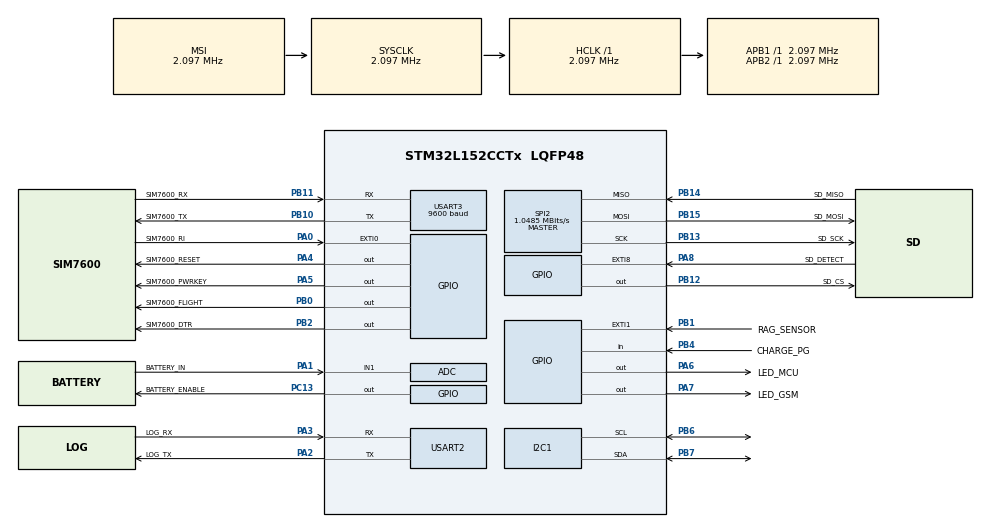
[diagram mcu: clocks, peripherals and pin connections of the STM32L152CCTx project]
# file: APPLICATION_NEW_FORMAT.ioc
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ADC.Channel-0\#ChannelRegularConversion=ADC_CHANNEL_1
ADC.ContinuousConvMode=ENABLE
ADC.NbrOfConversionFlag=1
ADC.Rank-0\#ChannelRegularConversion=1
ADC.SamplingTime-0\#ChannelRegularConversion=ADC_SAMPLETIME_4CYCLES
Dma.Request0=USART2_RX
Dma.USART2_RX.0.Direction=DMA_PERIPH_TO_MEMORY
Dma.USART2_RX.0.Instance=DMA1_Channel6
Dma.USART2_RX.0.MemDataAlignment=DMA_MDATAALIGN_BYTE
Dma.USART2_RX.0.MemInc=DMA_MINC_ENABLE
Dma.USART2_RX.0.Mode=DMA_NORMAL
Dma.USART2_RX.0.PeriphDataAlignment=DMA_PDATAALIGN_BYTE
Dma.USART2_RX.0.PeriphInc=DMA_PINC_DISABLE
Dma.USART2_RX.0.Priority=DMA_PRIORITY_LOW
FATFS._FS_TINY=1
FATFS._MAX_SS=1024
FATFS._USE_LFN=1
Mcu.Family=STM32L1
Mcu.Name=STM32L152CCTx
Mcu.Package=LQFP48
NVIC.DMA1_Channel6_IRQn=true\:0\:0\:false\:false\:true\:false\:true
NVIC.EXTI0_IRQn=true\:0\:0\:false\:false\:true\:true\:true
NVIC.EXTI1_IRQn=true\:0\:0\:false\:false\:true\:true\:true
NVIC.EXTI9_5_IRQn=true\:0\:0\:false\:false\:true\:true\:true
NVIC.PriorityGroup=NVIC_PRIORITYGROUP_4
NVIC.RTC_Alarm_IRQn=true\:0\:0\:false\:false\:true\:true\:true
NVIC.USART2_IRQn=true\:0\:0\:false\:false\:true\:true\:true
PA0-WKUP1.GPIO_Label=SIM7600_RI
PA0-WKUP1.GPIO_ModeDefaultEXTI=GPIO_MODE_IT_FALLING
PA0-WKUP1.GPIO_PuPd=GPIO_NOPULL
PA0-WKUP1.Signal=GPXTI0
PA1.GPIO_Label=BATTERY_IN
PA1.Mode=IN1
PA1.Signal=ADC_IN1
PA13.Mode=Serial_Wire
PA13.Signal=SYS_JTMS-SWDIO
PA14.Mode=Serial_Wire
PA14.Signal=SYS_JTCK-SWCLK
PA2.GPIO_Label=LOG_TX
PA2.Mode=Asynchronous
PA2.Signal=USART2_TX
PA3.GPIO_Label=LOG_RX
PA3.Mode=Asynchronous
PA3.Signal=USART2_RX
PA4.GPIO_Label=SIM7600_RESET
PA4.Signal=GPIO_Output
PA5.GPIO_Label=SIM7600_PWRKEY
PA5.Signal=GPIO_Output
PA6.GPIO_Label=LED_MCU
PA6.Signal=GPIO_Output
PA7.GPIO_Label=LED_GSM
PA7.Signal=GPIO_Output
PA8.GPIO_Label=SD_DETECT
PA8.GPIO_ModeDefaultEXTI=GPIO_MODE_IT_FALLING
PA8.Signal=GPXTI8
PB0.GPIO_Label=SIM7600_FLIGHT
PB0.Signal=GPIO_Output
PB1.GPIO_Label=RAG_SENSOR
PB1.GPIO_ModeDefaultEXTI=GPIO_MODE_IT_FALLING
PB1.Signal=GPXTI1
PB10.GPIO_Label=SIM7600_TX
PB10.Mode=Asynchronous
PB10.Signal=USART3_TX
PB11.GPIO_Label=SIM7600_RX
PB11.Mode=Asynchronous
PB11.Signal=USART3_RX
PB12.GPIO_Label=SD_CS
PB12.Signal=GPIO_Output
PB13.GPIO_Label=SD_SCK
PB13.Mode=Full_Duplex_Master
PB13.Signal=SPI2_SCK
PB14.GPIO_Label=SD_MISO
PB14.Mode=Full_Duplex_Master
PB14.Signal=SPI2_MISO
PB15.GPIO_Label=SD_MOSI
PB15.Mode=Full_Duplex_Master
PB15.Signal=SPI2_MOSI
PB2.GPIO_Label=SIM7600_DTR
PB2.Signal=GPIO_Output
PB4.GPIO_Label=CHARGE_PG
PB4.Signal=GPIO_Input
PB6.Mode=I2C
PB6.Signal=I2C1_SCL
PB7.Mode=I2C
PB7.Signal=I2C1_SDA
PC13-WKUP2.GPIO_Label=BATTERY_ENABLE
PC13-WKUP2.GPIO_Speed=GPIO_SPEED_FREQ_VERY_HIGH
PC13-WKUP2.Signal=GPIO_Output
PC14-OSC32_IN.Mode=LSE-External-Oscillator
PC14-OSC32_IN.Signal=RCC_OSC32_IN
PC15-OSC32_OUT.Mode=LSE-External-Oscillator
PC15-OSC32_OUT.Signal=RCC_OSC32_OUT
ProjectManager.HeapSize=0x200
ProjectManager.StackSize=0x400
ProjectManager.TargetToolchain=STM32CubeIDE
RCC.AHBFreq_Value=2097000
RCC.APB1Freq_Value=2097000
RCC.APB2Freq_Value=2097000
RCC.EnableCSSLSE=true
RCC.HSE_VALUE=24000000
RCC.HSI_VALUE=16000000
RCC.MSI_VALUE=2097000
RCC.PWR_Regulator_Voltage_Scale=PWR_REGULATOR_VOLTAGE_SCALE3
RCC.RTCClockSelection=RCC_RTCCLKSOURCE_LSE
RCC.RTCClockSelectionVirtual=RCC_RTCCLKSOURCE_LSE
RCC.SYSCLKFreq_VALUE=2097000
RCC.VCOOutputFreq_Value=48000000
RCC.VDD_VALUE=2
RTC.Alarm-Alarm\ A=RTC_ALARM_A
RTC.AlarmMaskDateWeekDay-Alarm\ A=RTC_ALARMMASK_DATEWEEKDAY
RTC.AlarmMaskHours-Alarm\ A=RTC_ALARMMASK_HOURS
SPI2.CalculateBaudRate=1.0485 MBits/s
SPI2.Direction=SPI_DIRECTION_2LINES
SPI2.Mode=SPI_MODE_MASTER
SPI2.VirtualType=VM_MASTER
USART2.VirtualMode=VM_ASYNC
USART3.BaudRate=9600
USART3.VirtualMode=VM_ASYNC
VP_CRC_VS_CRC.Mode=CRC_Activate
VP_FATFS_VS_Generic.Mode=User_defined
VP_RTC_VS_RTC_Activate.Mode=RTC_Enabled
VP_RTC_VS_RTC_Alarm_A_Intern.Mode=Alarm A
VP_RTC_VS_RTC_Calendar.Mode=RTC_Calendar
board=custom

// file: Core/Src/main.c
/* USER CODE BEGIN Header */
/**
 ******************************************************************************
 * @file           : main.c
 * @brief          : Chương trình xây dựng lại theo format chung của các bộ datalogger
 ******************************************************************************
 * @attention
 *
 * Copyright (c) 2022 STMicroelectronics.
 * All rights reserved.
 *
 * This software is licensed under terms that can be found in the LICENSE file
 * in the root directory of this software component.
 * If no LICENSE file comes with this software, it is provided AS-IS.
 *
 ******************************************************************************
 */
/* USER CODE END Header */
#include "main.h"
#include "fatfs.h"

/* USER CODE BEGIN Includes */
#include <stdio.h>
#include <string.h>

#include <lowlib.h>
#include <midlib.h>

/* USER CODE END Includes */

ADC_HandleTypeDef hadc;

CRC_HandleTypeDef hcrc;

I2C_HandleTypeDef hi2c1;

RTC_HandleTypeDef hrtc;

SPI_HandleTypeDef hspi2;

UART_HandleTypeDef huart2;
UART_HandleTypeDef huart3;
DMA_HandleTypeDef hdma_usart2_rx;

/* USER CODE BEGIN PV */
SIM_HandleTypeDef *simPtr;
SENSOR_HandleTypeDef *sensorPtr;
POWER_HandleTypeDef *powerPtr;
SDCARD_HandleTypeDef *sdcardPtr;
CLOCK_HandleTypeDef *clockPtr;
CFG_HandleTypeDef *cfgPtr;
Telegram_HandleTypeDef *telePtr;

/* USER CODE END PV */

void SystemClock_Config(void);
static void MX_GPIO_Init(void);
static void MX_DMA_Init(void);
static void MX_I2C1_Init(void);
static void MX_RTC_Init(void);
static void MX_SPI2_Init(void);
static void MX_USART2_UART_Init(void);
static void MX_USART3_UART_Init(void);
static void MX_ADC_Init(void);
static void MX_CRC_Init(void);
/* USER CODE BEGIN PFP */
void POWER_Init(void);
void SIM_Init(void);
void SENSOR_Init(void);
void CLOCK_Init(void);
void CONFIG_Init(void);
void SDCARD_Init(void);
void TELE_Init(void);

/* USER CODE END PFP */

int main(void)
{
	/* USER CODE BEGIN 1 */
	SCB->SHCSR |= (SCB_SHCSR_USGFAULTENA_Msk |
	SCB_SHCSR_MEMFAULTENA_Msk |
	SCB_SHCSR_BUSFAULTENA_Msk);
	/* USER CODE END 1 */

	/* MCU Configuration--------------------------------------------------------*/

	/* Reset of all peripherals, Initializes the Flash interface and the Systick. */
	HAL_Init();

	/* Configure the system clock */
	SystemClock_Config();

	/* Initialize all configured peripherals */
	MX_GPIO_Init();
	MX_DMA_Init();
	MX_I2C1_Init();
	MX_RTC_Init();
	MX_SPI2_Init();
	MX_USART2_UART_Init();
	MX_USART3_UART_Init();
	MX_FATFS_Init();
	MX_ADC_Init();
	MX_CRC_Init();
	/* USER CODE BEGIN 2 */
#if TEST

#else
	printf("This is the version 1.0.0 used to test the hardware of RFD board\n"
			"Writter: Hoang Van Binh\n"
			"Date: 27/04/2023\n");
	printf("Power on\n");
	TURN_ON_LED_MCU();
	/* Init power */
	POWER_Init();
	/* Init sim, must be called before CLOCK_Init and SDCARD_Init
	 * because, CLOCK and SDCARD need the time get from internet
	 * using SIM
	 */
	SIM_Init();
	/* Init config, read parameters saved in the eeprom */
	CONFIG_Init();
	/* Init clock, set time and alarm for device */
	CLOCK_Init();
	/* Init sensor, config and choose type of sensor */
	SENSOR_Init();
	/* Init sd card */
	SDCARD_Init();
	/* Init telegram, used for send device status */
	TELE_Init();

	TURN_OFF_LED_MCU();

	printf("Power off\n");
#endif
	/* USER CODE END 2 */

	/* Infinite loop */
	/* USER CODE BEGIN WHILE */

	while (1)
	{
#if TEST

#else
		/* Xử lý các trư�?ng hợp như treo SIM, lỗi giao tiếp */
		SIM_process(simPtr);

		/* Xử lý tin nhắn SMS */
		SMS_process();

		/* Xử lý gửi dữ liệu lên máy chủ */
		HTTP_process();

		printf("\nMCU enters LPM\n");
		TURN_OFF_LED_MCU();
		PWR->CR |= PWR_CR_ULP;
		PWR->CR |= PWR_CR_FWU;
		FLASH->ACR |= FLASH_ACR_SLEEP_PD;
		HAL_SuspendTick();
		HAL_PWR_EnableSleepOnExit();
		HAL_PWR_EnterSTOPMode(PWR_LOWPOWERREGULATOR_ON, PWR_SLEEPENTRY_WFI);
		HAL_ResumeTick();
		while ((PWR->CSR & PWR_CSR_VREFINTRDYF) != PWR_CSR_VREFINTRDYF);
		TURN_ON_LED_MCU();
		printf("MCU wakes up from LPM\n");

		/* Gọi lại hàm cấu hình clock, vì ADC sử dụng HSI nên sau chế độ STOP HSI bị dừng */
		SystemClock_Config();
#endif
		/* USER CODE END WHILE */

	}
}

void SystemClock_Config(void)
{
	RCC_OscInitTypeDef RCC_OscInitStruct = { 0 };
	RCC_ClkInitTypeDef RCC_ClkInitStruct = { 0 };
	RCC_PeriphCLKInitTypeDef PeriphClkInit = { 0 };

	/** Configure the main internal regulator output voltage
	 */
	__HAL_PWR_VOLTAGESCALING_CONFIG(PWR_REGULATOR_VOLTAGE_SCALE3);
	/** Initializes the RCC Oscillators according to the specified parameters
	 * in the RCC_OscInitTypeDef structure.
	 */
	RCC_OscInitStruct.OscillatorType = RCC_OSCILLATORTYPE_HSI | RCC_OSCILLATORTYPE_LSE | RCC_OSCILLATORTYPE_MSI;
	RCC_OscInitStruct.LSEState = RCC_LSE_ON;
	RCC_OscInitStruct.HSIState = RCC_HSI_ON;
	RCC_OscInitStruct.HSICalibrationValue = RCC_HSICALIBRATION_DEFAULT;
	RCC_OscInitStruct.MSIState = RCC_MSI_ON;
	RCC_OscInitStruct.MSICalibrationValue = 0;
	RCC_OscInitStruct.MSIClockRange = RCC_MSIRANGE_5;
	RCC_OscInitStruct.PLL.PLLState = RCC_PLL_NONE;
	if (HAL_RCC_OscConfig(&RCC_OscInitStruct) != HAL_OK)
	{
		Error_Handler();
	}
	/** Initializes the CPU, AHB and APB buses clocks
	 */
	RCC_ClkInitStruct.ClockType = RCC_CLOCKTYPE_HCLK | RCC_CLOCKTYPE_SYSCLK | RCC_CLOCKTYPE_PCLK1 | RCC_CLOCKTYPE_PCLK2;
	RCC_ClkInitStruct.SYSCLKSource = RCC_SYSCLKSOURCE_MSI;
	RCC_ClkInitStruct.AHBCLKDivider = RCC_SYSCLK_DIV1;
	RCC_ClkInitStruct.APB1CLKDivider = RCC_HCLK_DIV1;
	RCC_ClkInitStruct.APB2CLKDivider = RCC_HCLK_DIV1;

	if (HAL_RCC_ClockConfig(&RCC_ClkInitStruct, FLASH_LATENCY_0) != HAL_OK)
	{
		Error_Handler();
	}
	PeriphClkInit.PeriphClockSelection = RCC_PERIPHCLK_RTC;
	PeriphClkInit.RTCClockSelection = RCC_RTCCLKSOURCE_LSE;
	if (HAL_RCCEx_PeriphCLKConfig(&PeriphClkInit) != HAL_OK)
	{
		Error_Handler();
	}
	/** Enables the Clock Security System
	 */
	HAL_RCCEx_EnableLSECSS();
}

static void MX_ADC_Init(void)
{

	ADC_ChannelConfTypeDef sConfig = { 0 };

	/** Configure the global features of the ADC (Clock, Resolution, Data Alignment and number of conversion)
	 */
	hadc.Instance = ADC1;
	hadc.Init.ClockPrescaler = ADC_CLOCK_ASYNC_DIV4;
	hadc.Init.Resolution = ADC_RESOLUTION_12B;
	hadc.Init.DataAlign = ADC_DATAALIGN_RIGHT;
	hadc.Init.ScanConvMode = ADC_SCAN_DISABLE;
	hadc.Init.EOCSelection = ADC_EOC_SEQ_CONV;
	hadc.Init.LowPowerAutoWait = ADC_AUTOWAIT_DISABLE;
	hadc.Init.LowPowerAutoPowerOff = ADC_AUTOPOWEROFF_DISABLE;
	hadc.Init.ChannelsBank = ADC_CHANNELS_BANK_A;
	hadc.Init.ContinuousConvMode = ENABLE;
	hadc.Init.NbrOfConversion = 1;
	hadc.Init.DiscontinuousConvMode = DISABLE;
	hadc.Init.ExternalTrigConv = ADC_SOFTWARE_START;
	hadc.Init.ExternalTrigConvEdge = ADC_EXTERNALTRIGCONVEDGE_NONE;
	hadc.Init.DMAContinuousRequests = DISABLE;
	if (HAL_ADC_Init(&hadc) != HAL_OK)
	{
		Error_Handler();
	}
	/** Configure for the selected ADC regular channel its corresponding rank in the sequencer and its sample time.
	 */
	sConfig.Channel = ADC_CHANNEL_1;
	sConfig.Rank = ADC_REGULAR_RANK_1;
	sConfig.SamplingTime = ADC_SAMPLETIME_4CYCLES;
	if (HAL_ADC_ConfigChannel(&hadc, &sConfig) != HAL_OK)
	{
		Error_Handler();
	}

}

static void MX_CRC_Init(void)
{

	hcrc.Instance = CRC;
	if (HAL_CRC_Init(&hcrc) != HAL_OK)
	{
		Error_Handler();
	}

}

static void MX_I2C1_Init(void)
{

	hi2c1.Instance = I2C1;
	hi2c1.Init.ClockSpeed = 100000;
	hi2c1.Init.DutyCycle = I2C_DUTYCYCLE_2;
	hi2c1.Init.OwnAddress1 = 0;
	hi2c1.Init.AddressingMode = I2C_ADDRESSINGMODE_7BIT;
	hi2c1.Init.DualAddressMode = I2C_DUALADDRESS_DISABLE;
	hi2c1.Init.OwnAddress2 = 0;
	hi2c1.Init.GeneralCallMode = I2C_GENERALCALL_DISABLE;
	hi2c1.Init.NoStretchMode = I2C_NOSTRETCH_DISABLE;
	if (HAL_I2C_Init(&hi2c1) != HAL_OK)
	{
		Error_Handler();
	}

}

static void MX_RTC_Init(void)
{

	/* USER CODE BEGIN RTC_Init 0 */
#if 0
  /* USER CODE END RTC_Init 0 */

  RTC_TimeTypeDef sTime = {0};
  RTC_DateTypeDef sDate = {0};
  RTC_AlarmTypeDef sAlarm = {0};

  /** Initialize RTC Only
  */
  hrtc.Instance = RTC;
  hrtc.Init.HourFormat = RTC_HOURFORMAT_24;
  hrtc.Init.AsynchPrediv = 127;
  hrtc.Init.SynchPrediv = 255;
  hrtc.Init.OutPut = RTC_OUTPUT_DISABLE;
  hrtc.Init.OutPutPolarity = RTC_OUTPUT_POLARITY_HIGH;
  hrtc.Init.OutPutType = RTC_OUTPUT_TYPE_OPENDRAIN;
  if (HAL_RTC_Init(&hrtc) != HAL_OK)
  {
    Error_Handler();
  }

  /** Initialize RTC and set the Time and Date
  */
  sTime.Hours = 0x0;
  sTime.Minutes = 0x0;
  sTime.Seconds = 0x0;
  sTime.DayLightSaving = RTC_DAYLIGHTSAVING_NONE;
  sTime.StoreOperation = RTC_STOREOPERATION_RESET;
  if (HAL_RTC_SetTime(&hrtc, &sTime, RTC_FORMAT_BCD) != HAL_OK)
  {
    Error_Handler();
  }
  sDate.WeekDay = RTC_WEEKDAY_MONDAY;
  sDate.Month = RTC_MONTH_JANUARY;
  sDate.Date = 0x1;
  sDate.Year = 0x0;

  if (HAL_RTC_SetDate(&hrtc, &sDate, RTC_FORMAT_BCD) != HAL_OK)
  {
    Error_Handler();
  }
  /** Enable the Alarm A
  */
  sAlarm.AlarmTime.Hours = 0x0;
  sAlarm.AlarmTime.Minutes = 0x0;
  sAlarm.AlarmTime.Seconds = 0x0;
  sAlarm.AlarmTime.SubSeconds = 0x0;
  sAlarm.AlarmTime.DayLightSaving = RTC_DAYLIGHTSAVING_NONE;
  sAlarm.AlarmTime.StoreOperation = RTC_STOREOPERATION_RESET;
  sAlarm.AlarmMask = RTC_ALARMMASK_DATEWEEKDAY|RTC_ALARMMASK_HOURS;
  sAlarm.AlarmSubSecondMask = RTC_ALARMSUBSECONDMASK_ALL;
  sAlarm.AlarmDateWeekDaySel = RTC_ALARMDATEWEEKDAYSEL_DATE;
  sAlarm.AlarmDateWeekDay = 0x1;
  sAlarm.Alarm = RTC_ALARM_A;
  if (HAL_RTC_SetAlarm_IT(&hrtc, &sAlarm, RTC_FORMAT_BCD) != HAL_OK)
  {
    Error_Handler();
  }
  /* USER CODE BEGIN RTC_Init 2 */
#endif
	/* USER CODE END RTC_Init 2 */

}

static void MX_SPI2_Init(void)
{

	/* SPI2 parameter configuration*/
	hspi2.Instance = SPI2;
	hspi2.Init.Mode = SPI_MODE_MASTER;
	hspi2.Init.Direction = SPI_DIRECTION_2LINES;
	hspi2.Init.DataSize = SPI_DATASIZE_8BIT;
	hspi2.Init.CLKPolarity = SPI_POLARITY_LOW;
	hspi2.Init.CLKPhase = SPI_PHASE_1EDGE;
	hspi2.Init.NSS = SPI_NSS_SOFT;
	hspi2.Init.BaudRatePrescaler = SPI_BAUDRATEPRESCALER_2;
	hspi2.Init.FirstBit = SPI_FIRSTBIT_MSB;
	hspi2.Init.TIMode = SPI_TIMODE_DISABLE;
	hspi2.Init.CRCCalculation = SPI_CRCCALCULATION_DISABLE;
	hspi2.Init.CRCPolynomial = 10;
	if (HAL_SPI_Init(&hspi2) != HAL_OK)
	{
		Error_Handler();
	}

}

static void MX_USART2_UART_Init(void)
{

	/* USER CODE BEGIN USART2_Init 0 */
#if 0
  /* USER CODE END USART2_Init 0 */

  huart2.Instance = USART2;
  huart2.Init.BaudRate = 115200;
  huart2.Init.WordLength = UART_WORDLENGTH_8B;
  huart2.Init.StopBits = UART_STOPBITS_1;
  huart2.Init.Parity = UART_PARITY_NONE;
  huart2.Init.Mode = UART_MODE_TX_RX;
  huart2.Init.HwFlowCtl = UART_HWCONTROL_NONE;
  huart2.Init.OverSampling = UART_OVERSAMPLING_16;
  if (HAL_UART_Init(&huart2) != HAL_OK)
  {
    Error_Handler();
  }
  /* USER CODE BEGIN USART2_Init 2 */
#endif
	/* USER CODE END USART2_Init 2 */

}

static void MX_USART3_UART_Init(void)
{

	huart3.Instance = USART3;
	huart3.Init.BaudRate = 9600;
	huart3.Init.WordLength = UART_WORDLENGTH_8B;
	huart3.Init.StopBits = UART_STOPBITS_1;
	huart3.Init.Parity = UART_PARITY_NONE;
	huart3.Init.Mode = UART_MODE_TX_RX;
	huart3.Init.HwFlowCtl = UART_HWCONTROL_NONE;
	huart3.Init.OverSampling = UART_OVERSAMPLING_16;
	if (HAL_UART_Init(&huart3) != HAL_OK)
	{
		Error_Handler();
	}

}

static void MX_DMA_Init(void)
{

	/* DMA controller clock enable */
	__HAL_RCC_DMA1_CLK_ENABLE();

	/* DMA interrupt init */
	/* DMA1_Channel6_IRQn interrupt configuration */
	HAL_NVIC_SetPriority(DMA1_Channel6_IRQn, 0, 0);
	HAL_NVIC_EnableIRQ(DMA1_Channel6_IRQn);

}

static void MX_GPIO_Init(void)
{
	GPIO_InitTypeDef GPIO_InitStruct = { 0 };

	/* GPIO Ports Clock Enable */
	__HAL_RCC_GPIOC_CLK_ENABLE();
	__HAL_RCC_GPIOH_CLK_ENABLE();
	__HAL_RCC_GPIOA_CLK_ENABLE();
	__HAL_RCC_GPIOB_CLK_ENABLE();

	/*Configure GPIO pin Output Level */
	HAL_GPIO_WritePin(BATTERY_ENABLE_GPIO_Port, BATTERY_ENABLE_Pin, GPIO_PIN_RESET);

	/*Configure GPIO pin Output Level */
	HAL_GPIO_WritePin(GPIOA, SIM7600_RESET_Pin | SIM7600_PWRKEY_Pin | LED_MCU_Pin | LED_GSM_Pin, GPIO_PIN_RESET);

	/*Configure GPIO pin Output Level */
	HAL_GPIO_WritePin(GPIOB, SIM7600_FLIGHT_Pin | SIM7600_DTR_Pin | SD_CS_Pin, GPIO_PIN_RESET);

	/*Configure GPIO pin : BATTERY_ENABLE_Pin */
	GPIO_InitStruct.Pin = BATTERY_ENABLE_Pin;
	GPIO_InitStruct.Mode = GPIO_MODE_OUTPUT_PP;
	GPIO_InitStruct.Pull = GPIO_NOPULL;
	GPIO_InitStruct.Speed = GPIO_SPEED_FREQ_VERY_HIGH;
	HAL_GPIO_Init(BATTERY_ENABLE_GPIO_Port, &GPIO_InitStruct);

	/*Configure GPIO pins : PH0 PH1 */
	GPIO_InitStruct.Pin = GPIO_PIN_0 | GPIO_PIN_1;
	GPIO_InitStruct.Mode = GPIO_MODE_ANALOG;
	GPIO_InitStruct.Pull = GPIO_NOPULL;
	HAL_GPIO_Init(GPIOH, &GPIO_InitStruct);

	/*Configure GPIO pins : SIM7600_RI_Pin SD_DETECT_Pin */
	GPIO_InitStruct.Pin = SIM7600_RI_Pin | SD_DETECT_Pin;
	GPIO_InitStruct.Mode = GPIO_MODE_IT_FALLING;
	GPIO_InitStruct.Pull = GPIO_NOPULL;
	HAL_GPIO_Init(GPIOA, &GPIO_InitStruct);

	/*Configure GPIO pins : SIM7600_RESET_Pin SIM7600_PWRKEY_Pin LED_MCU_Pin LED_GSM_Pin */
	GPIO_InitStruct.Pin = SIM7600_RESET_Pin | SIM7600_PWRKEY_Pin | LED_MCU_Pin | LED_GSM_Pin;
	GPIO_InitStruct.Mode = GPIO_MODE_OUTPUT_PP;
	GPIO_InitStruct.Pull = GPIO_NOPULL;
	GPIO_InitStruct.Speed = GPIO_SPEED_FREQ_LOW;
	HAL_GPIO_Init(GPIOA, &GPIO_InitStruct);

	/*Configure GPIO pins : SIM7600_FLIGHT_Pin SIM7600_DTR_Pin SD_CS_Pin */
	GPIO_InitStruct.Pin = SIM7600_FLIGHT_Pin | SIM7600_DTR_Pin | SD_CS_Pin;
	GPIO_InitStruct.Mode = GPIO_MODE_OUTPUT_PP;
	GPIO_InitStruct.Pull = GPIO_NOPULL;
	GPIO_InitStruct.Speed = GPIO_SPEED_FREQ_LOW;
	HAL_GPIO_Init(GPIOB, &GPIO_InitStruct);

	/*Configure GPIO pin : RAG_SENSOR_Pin */
	GPIO_InitStruct.Pin = RAG_SENSOR_Pin;
	GPIO_InitStruct.Mode = GPIO_MODE_IT_FALLING;
	GPIO_InitStruct.Pull = GPIO_NOPULL;
	HAL_GPIO_Init(RAG_SENSOR_GPIO_Port, &GPIO_InitStruct);

	/*Configure GPIO pins : PA9 PA10 PA11 PA12
	 PA15 */
	GPIO_InitStruct.Pin = GPIO_PIN_9 | GPIO_PIN_10 | GPIO_PIN_11 | GPIO_PIN_12 | GPIO_PIN_15;
	GPIO_InitStruct.Mode = GPIO_MODE_ANALOG;
	GPIO_InitStruct.Pull = GPIO_NOPULL;
	HAL_GPIO_Init(GPIOA, &GPIO_InitStruct);

	/*Configure GPIO pins : PB3 PB5 PB8 PB9 */
	GPIO_InitStruct.Pin = GPIO_PIN_3 | GPIO_PIN_5 | GPIO_PIN_8 | GPIO_PIN_9;
	GPIO_InitStruct.Mode = GPIO_MODE_ANALOG;
	GPIO_InitStruct.Pull = GPIO_NOPULL;
	HAL_GPIO_Init(GPIOB, &GPIO_InitStruct);

	/*Configure GPIO pin : CHARGE_PG_Pin */
	GPIO_InitStruct.Pin = CHARGE_PG_Pin;
	GPIO_InitStruct.Mode = GPIO_MODE_INPUT;
	GPIO_InitStruct.Pull = GPIO_NOPULL;
	HAL_GPIO_Init(CHARGE_PG_GPIO_Port, &GPIO_InitStruct);

	/* EXTI interrupt init*/
	HAL_NVIC_SetPriority(EXTI0_IRQn, 0, 0);
	HAL_NVIC_EnableIRQ(EXTI0_IRQn);

	HAL_NVIC_SetPriority(EXTI1_IRQn, 0, 0);
	HAL_NVIC_EnableIRQ(EXTI1_IRQn);

	HAL_NVIC_SetPriority(EXTI9_5_IRQn, 0, 0);
	HAL_NVIC_EnableIRQ(EXTI9_5_IRQn);

}

/* USER CODE BEGIN 4 */
/**
 * @brief POWER Initialization Function
 * @param None
 * @retval None
 */
void POWER_Init(void)
{
	/* Khởi tạo biến tĩnh để các giá trị khởi tạo không bị mất đi */
	static BATTERY_HandleTypeDef battery = { 0 };

	/* Khởi tạo giá trị cho con tr�?, biến con tr�? là biến toàn cục */
	powerPtr = (POWER_HandleTypeDef*) &battery;

	/* Khởi tạo giá trị của các member của struct */
	battery.hadc = &hadc;
	battery.parent.getPercent = (powerGetPercent) &BATTERY_getBatteryPercent;
	battery.parent.getPowerState = (powerGetPowerState) &BATTERY_getPowerState;
	battery.parent.getVoltage = (powerGetVoltage) &BATTERY_getBatteryVoltage;
	battery.parent.init = (powerInit) &BATTERY_init;
	battery.bq24298.hi2c = &hi2c1;

	/* Khởi tạo nguồn */
	if (THT_ERROR == POWER_init(powerPtr))
	{
		printf("POWER INIT FAIL!\n");
	}
	else
	{
		/* Bật c�? cho phép cảnh báo pin yếu ngay khi khởi động thiết bị */
		POWER_SET_FLAG(powerPtr, POWER_FLAG_WARNEN);
		POWER_getBatPercent(powerPtr);
		printf("Power Voltage: %.2fV\n", POWER_getBatVoltage(powerPtr));
		printf("POWER INIT DONE!\n");
	}
}

/**
 * @brief CLOCK Initialization Function
 * @param None
 * @retval None
 */
void CLOCK_Init(void)
{
	/* Khởi tạo biến tĩnh để các giá trị khởi tạo không bị mất đi */
	static CLOCK_HandleTypeDef clock = { 0 };

	/* Khởi tạo giá trị cho con tr�?, biến con tr�? là biến toàn cục */
	clockPtr = &clock;

	/* Khởi tạo giá trị của các member của struct */
	clock.hrtc = &hrtc;
	clock.readPeriod = 10u;
	clock.sendPeriod = 10u;

	/* Khởi tạo đồng hồ cho thiết bị */
	if (THT_OK == CLOCK_init(clockPtr))
	{
		/* �?�?c cấu hình th�?i gian đ�?c và th�?i gian gửi */
		CLOCK_readEPPROMs(clockPtr);

		/* �?�?c giá trị th�?i gian đã được đồng bộ cho module SIM và đồng
		 * bộ cho RTC của vi đi�?u khiển
		 */
		SIM_DataTypeDef simData = { 0 };
		SIM_getData(simPtr, SIM_DR_TIME, &simData);

		/* Cấu hình th�?i gian cho thiết bị */
		CLOCK_setTime(clockPtr, simData.timezone, strlen(simData.timezone));

		/* Lưu th�?i gian thiết bị khởi động */
		CLOCK_setResetTime(clockPtr);

		/* Cài đặt th�?i gian báo thức đ�?c dữ liệu */
		CLOCK_setAlarm(clockPtr);

		/* Cấu hình các mốc th�?i gian đ�?c trước và th�?i gian gửi */
		CLOCK_setLastAlarm(clockPtr);
		CLOCK_setNextAlarm(clockPtr);
		printf("CLOCK INIT DONE\n");
	}
	else
	{
		printf("CLOCK INIT FAIL\n");
	}
}

/**
 * @brief SENSOR Initialization Function
 * @param None
 * @retval None
 */
void SENSOR_Init(void)
{
	static SENSOR_HandleTypeDef ragSensor;
	sensorPtr = &ragSensor;

	ragSensor.ragPort = RAG_SENSOR_GPIO_Port;
	ragSensor.ragPin = RAG_SENSOR_Pin;
	ragSensor.SR = 0;
	ragSensor.resolution = 0.2f;
	ragSensor.warning[0] = 50u;
	/* Lưu thông tin cấu hình cảm biến trong bộ nhớ EEPROM */
	SENSOR_readEEPROMs(sensorPtr);

	/* �?�?c giá trị mực nước lưu trong thanh ghi backup */
	SENSOR_readBKUPRegister(sensorPtr);
}

/**
 * @brief SIM Initialization Function
 * @param None
 * @retval None
 */
void SIM_Init(void)
{
	/* Khởi tạo biến tĩnh để các giá trị khởi tạo không bị mất đi */
	static SIM7600_HandleTypeDef sim7600 = { 0 };

	/* Khởi tạo giá trị cho con tr�?, biến con tr�? là biến toàn cục */
	simPtr = (SIM_HandleTypeDef*) &sim7600;

	/* Khởi tạo giá trị của các member của struct */
	sim7600.hdma = &hdma_usart2_rx;
	sim7600.huart = &huart2;
	sim7600.smsCnt = 0;
	sim7600.smsPos = 0;
	sim7600.pwrkeyPin = SIM7600_PWRKEY_Pin;
	sim7600.pwrkeyPort = SIM7600_PWRKEY_GPIO_Port;
	sim7600.resetPort = SIM7600_RESET_GPIO_Port;
	sim7600.resetPin = SIM7600_RESET_Pin;
	sim7600.sleepPort = SIM7600_DTR_GPIO_Port;
	sim7600.sleepPin = SIM7600_DTR_Pin;
	sim7600.parent.CSR = 0;
	sim7600.parent.simSendATCommand = (simSendATCommand) &SIM7600_sendATCommand;
	sim7600.parent.simWakeup = (simWakeup) &SIM7600_wakeup;
	sim7600.parent.simSleep = (simSleep) &SIM7600_sleep;
	sim7600.parent.simInit = (simInit) &SIM7600_init;
	sim7600.parent.simSetFunction = (simSetFunction) &SIM7600_setFunction;
	sim7600.parent.simProcess = (simProcess) &SIM7600_process;
	sim7600.parent.simCheckEvent = (simCheckEvent) &SIM7600_checkEvent;
	sim7600.parent.simReadSMS = (simReadSMS) &SIM7600_readSMS;
	sim7600.parent.simSendSMS = (simSendSMS) &SIM7600_sendSMS;
	sim7600.parent.simGetSMSCounter = (simGetSMSCounter) &SIM7600_getSMSCounter;
	sim7600.parent.simCallUSSD = (simCallUSSD) &SIM7600_callUSSD;
	sim7600.parent.simGetRSSI = (simGetRSSI) &SIM7600_getRSSI;
	sim7600.parent.simGetTemperature = (simGetTemperature) &SIM7600_getTemperature;
	sim7600.parent.simGetNwtype = (simGetNwtype) &SIM7600_getNetworkType;
	sim7600.parent.simGetSimPhone = (simGetSimPhone) &SIM7600_getSimPhone;
	sim7600.parent.simGetIMEI = (simGetIMEI) &SIM7600_getIMEI;
	sim7600.parent.simGetLocalTime = (simGetLocalTime) &SIM7600_getLocalTime;
	sim7600.parent.simGetFileSize = (simGetFileSize) &SIM7600_getFileSize;
	sim7600.parent.simDeleteFile = (simDeleteFile) &SIM7600_deleteFile;
	sim7600.parent.simSetLocalTimeAuto = (simSetLocalTimeAuto) &SIM7600_setLocalTimeAuto;
	sim7600.parent.simSetLocalTimeManual = (simSetLocalTimeManual) &SIM7600_setLocalTimeManual;
	sim7600.parent.simSelectPhonebookMem = (simSelectPhonebookMem) &SIM7600_selectPhonebookMem;
	sim7600.parent.simSavePhonebook = (simSavePhonebook) &SIM7600_savePhonebook;
	sim7600.parent.simReadPhonebook = (simReadPhonebook) &SIM7600_readPhonebook;
	sim7600.parent.simFindPhonebook = (simFindPhonebook) &SIM7600_findPhonebook;
	sim7600.parent.simSendHTTP = (simSendHTTP) &SIM7600_sendHTTP;
	sim7600.parent.simGetFileHTTP = (simGetFileHTTP) &SIM7600_getFileHTTP;

	/* Khởi tạo module SIM */
	if (THT_OK != SIM_init(simPtr))
	{
		printf("SIM	INIT FAIL\n");
	}
	else
	{
		SIM_DataTypeDef simData = { 0 };
		/* �?ưa module SIM vào chế độ hoạt động đầy đủ chức năng */
		SIM_setFunction(simPtr, SIM_MODE_FULL);
		SIM_setLocalTimeAuto(simPtr);
		SIM_getData(simPtr, SIM_DR_IMEI | SIM_DR_RSSI | SIM_DR_NWTYPE | SIM_DR_TEMP, &simData);
		printf("SIM INIT DONE\n");
	}
}

/**
 * @brief SDCARD Initialization Function
 * @param None
 * @retval None
 */
void SDCARD_Init(void)
{
	/* Khởi tạo biến tĩnh để các giá trị khởi tạo không bị mất đi */
	static SD_HandleTypeDef sd = { 0 };

	/* Khởi tạo giá trị cho con tr�?, biến con tr�? là biến toàn cục */
	sdcardPtr = (SDCARD_HandleTypeDef*) &sd;

	/* Khởi tạo giá trị của các member của struct */
	sd.parent.sdMount = (sdMount) &SD_mount;
	sd.parent.sdUnmount = (sdUnmount) &SD_unmount;
	sd.parent.sdCreateFile = (sdCreateFile) &SD_createFile;
	sd.parent.sdCreateDir = (sdCreateDir) &SD_createDir;
	sd.parent.sdGetFileSize = (sdGetFileSize) &SD_getFileSize;
	sd.parent.sdUpdateFile = (sdUpdateFile) &SD_updateFile;

	/* Khởi tạo thẻ nhớ */
	if (THT_OK == SDCARD_init(sdcardPtr))
	{
		char pathname[16] = { 0 };

		/* Tạo ra tên đư�?ng dẫn để lưu trữ dữ liệu */
		CLOCK_createPathForSD(clockPtr, pathname, sizeof(pathname));

		/* Tạo ra folder trên thẻ nhớ với đư�?ng dẫn vừa tạo ở trên */
		SDCARD_setCurrentFile(sdcardPtr, pathname);
		printf("SDCARD INIT DONE\n");
	}
}

/**
 * @brief CONFIG Initialization Function
 * @param None
 * @retval None
 */
void CONFIG_Init(void)
{
	/* Khởi tạo biến tĩnh để các giá trị khởi tạo không bị mất đi */
	static CFG_HandleTypeDef cfg = { 0 };

	/* Khởi tạo giá trị cho con tr�?, biến con tr�? là biến toàn cục */
	cfgPtr = &cfg;

	/* �?�?c số điện thoại của thẻ SIM làm ID cho thiết bị */
	SIM_DataTypeDef simData = { 0 };
	SIM_getData(simPtr, SIM_DR_SIMPHONE, &simData);

	/* �?�?c các giá trị đã được lưu trong bộ nhớ EEPROM */
	CFG_readEEPROM(cfgPtr);

	/* Cài đặt ID cho thiết bị */
	CFG_setDeviceID(cfgPtr, simData.simPhone, strlen(simData.simPhone));
}

/**
 * @brief TELE Initialization Function
 * @param None
 * @retval None
 */
void TELE_Init(void)
{
	/* Khởi tạo biến tĩnh để các giá trị khởi tạo không bị mất đi */
	static Telegram_HandleTypeDef tele = { .chatID = { 0 }, .disableNotification = TELEGRAM_FALSE_STRING,
			.disableWebPagePreview = TELEGRAM_FALSE_STRING, .method =
			TELEGRAM_METHOD_SEND_MSG, .parseMode = "HTML", .replyToMessageID =
			TELEGRAM_NULL_STRING, .token = { 0 } };

	/* Khởi tạo giá trị cho con tr�?, biến con tr�? là biến toàn cục */
	telePtr = &tele;

	/* Khởi tạo Telegram */
	TELEGRAM_init(telePtr);

	TELEGRAM_writeEEPROM(telePtr);
}

/**
 * @brief  Reception Event Callback (Rx event notification called after use of advanced reception service).
 * @param  huart UART handle
 * @param  Size  Number of data available in application reception buffer (indicates a position in
 *               reception buffer until which, data are available)
 * @retval None
 */
void HAL_UARTEx_RxEventCallback(UART_HandleTypeDef *huart, uint16_t Size)
{
	if (huart->Instance == USART2)
	{
		SIM_checkEvent(simPtr, Size);
	}
}

/**
 * @brief  Alarm A callback.
 * @param  hrtc RTC handle
 * @retval None
 */
void HAL_RTC_AlarmAEventCallback(RTC_HandleTypeDef *hrtc)
{
	CLOCK_callback(clockPtr);

	HAL_PWR_DisableSleepOnExit();
}

/**
 * @brief  EXTI line detection callbacks.
 * @param  GPIO_Pin Specifies the port pin connected to corresponding EXTI line.
 * @retval None
 */
void HAL_GPIO_EXTI_Callback(uint16_t GPIO_Pin)
{
	/* Wake up MCU from stop mode by any EXTI line */
	if (GPIO_Pin == RAG_SENSOR_Pin)
	{
		/* Set flag to read LoRa message */
		SENSOR_callback(sensorPtr);
	}

	if (GPIO_Pin == SIM7600_RI_Pin)
	{
		/* Wake up module SIM to read SMS */
		HAL_PWR_DisableSleepOnExit();
	}
}

#ifdef __GNUC__
#define PUTCHAR_PROTOTYPE int __io_putchar(int ch)
#else
#define PUTCHAR_PROTOTYPE int fputc(int ch, FILE *f)
#endif /* __GNUC__ */

/**
 * @brief  Retargets the C library printf function to the USART.
 * @param  None
 * @retval None
 */
PUTCHAR_PROTOTYPE
{
	HAL_UART_Transmit(&huart3, (uint8_t*) &ch, 1, 50);
	return ch;
}
/* USER CODE END 4 */

void Error_Handler(void)
{
	/* USER CODE BEGIN Error_Handler_Debug */
	/* User can add his own implementation to report the HAL error return state */
	__disable_irq();
	while (1)
	{
		NVIC_SystemReset();
	}
	/* USER CODE END Error_Handler_Debug */
}
